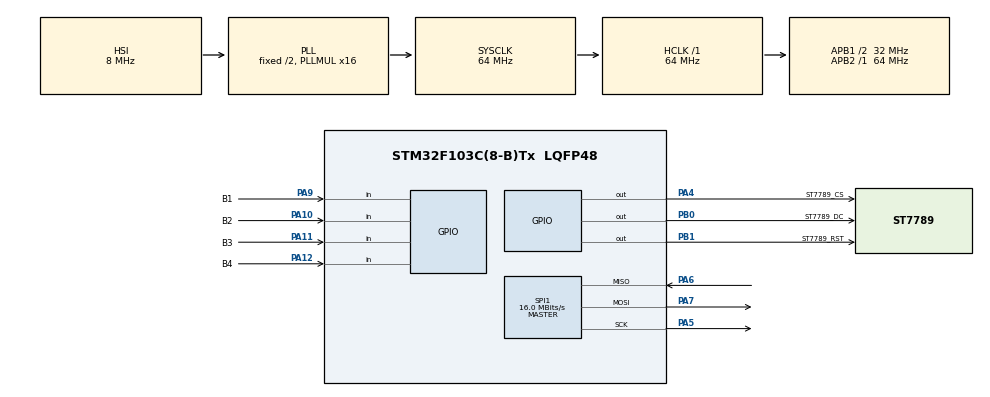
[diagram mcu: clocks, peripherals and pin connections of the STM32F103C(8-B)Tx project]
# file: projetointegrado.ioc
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Mcu.Family=STM32F1
Mcu.Name=STM32F103C(8-B)Tx
Mcu.Package=LQFP48
NVIC.PriorityGroup=NVIC_PRIORITYGROUP_4
PA10.GPIO_Label=B2
PA10.GPIO_PuPd=GPIO_PULLUP
PA10.Signal=GPIO_Input
PA11.GPIO_Label=B3
PA11.GPIO_PuPd=GPIO_PULLUP
PA11.Signal=GPIO_Input
PA12.GPIO_Label=B4
PA12.GPIO_PuPd=GPIO_PULLUP
PA12.Signal=GPIO_Input
PA13.Mode=Serial_Wire
PA13.Signal=SYS_JTMS-SWDIO
PA14.Mode=Serial_Wire
PA14.Signal=SYS_JTCK-SWCLK
PA4.GPIO_Label=ST7789_CS
PA4.Signal=GPIO_Output
PA5.Mode=Full_Duplex_Master
PA5.Signal=SPI1_SCK
PA6.Mode=Full_Duplex_Master
PA6.Signal=SPI1_MISO
PA7.Mode=Full_Duplex_Master
PA7.Signal=SPI1_MOSI
PA9.GPIO_Label=B1
PA9.GPIO_PuPd=GPIO_PULLUP
PA9.Signal=GPIO_Input
PB0.GPIO_Label=ST7789_DC
PB0.Signal=GPIO_Output
PB1.GPIO_Label=ST7789_RST
PB1.Signal=GPIO_Output
ProjectManager.HeapSize=0x200
ProjectManager.StackSize=0x400
ProjectManager.TargetToolchain=STM32CubeIDE
RCC.AHBFreq_Value=64000000
RCC.APB1CLKDivider=RCC_HCLK_DIV2
RCC.APB1Freq_Value=32000000
RCC.APB1TimFreq_Value=64000000
RCC.APB2Freq_Value=64000000
RCC.APB2TimFreq_Value=64000000
RCC.HCLKFreq_Value=64000000
RCC.PLLMUL=RCC_PLL_MUL16
RCC.SYSCLKFreq_VALUE=64000000
RCC.SYSCLKSource=RCC_SYSCLKSOURCE_PLLCLK
RCC.USBFreq_Value=64000000
SPI1.BaudRatePrescaler=SPI_BAUDRATEPRESCALER_4
SPI1.CLKPolarity=SPI_POLARITY_HIGH
SPI1.CalculateBaudRate=16.0 MBits/s
SPI1.Direction=SPI_DIRECTION_2LINES
SPI1.Mode=SPI_MODE_MASTER
SPI1.VirtualType=VM_MASTER
board=custom

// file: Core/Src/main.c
/* USER CODE BEGIN Header */
/**
  ******************************************************************************
  * @file           : main.c
  * @brief          : Main program body
  ******************************************************************************
  * @attention
  *
  * <h2><center>&copy; Copyright (c) 2026 STMicroelectronics.
  * All rights reserved.</center></h2>
  *
  * This software component is licensed by ST under BSD 3-Clause license,
  * the "License"; You may not use this file except in compliance with the
  * License. You may obtain a copy of the License at:
  *                        opensource.org/licenses/BSD-3-Clause
  *
  ******************************************************************************
  */
/* USER CODE END Header */
#include "main.h"

/* USER CODE BEGIN Includes */
#include <stdlib.h>
#include "ST7789\st7789.h"
#include <time.h>
#include <string.h>
/* USER CODE END Includes */

/* USER CODE BEGIN PD */
#define s1 HAL_GPIO_ReadPin(B1_GPIO_Port, B1_Pin)
#define s2 HAL_GPIO_ReadPin(B2_GPIO_Port, B2_Pin)
#define s3 HAL_GPIO_ReadPin(B3_GPIO_Port, B3_Pin)
#define s4 HAL_GPIO_ReadPin(B4_GPIO_Port, B4_Pin)
/* USER CODE END PD */

SPI_HandleTypeDef hspi1;

/* USER CODE BEGIN PV */
char senha[3];
int pos = 0;
char s[3];
char alunos[2];
int Qa = 0;
int senhaexibi;
int total = 0;
/* USER CODE END PV */

void SystemClock_Config(void);
static void MX_GPIO_Init(void);
static void MX_SPI1_Init(void);
/* USER CODE BEGIN PFP */
void gerador(void);
void exibirsenhad(void);
void exibirqalunos(void);
void exibiralunos(void);
/* USER CODE END PFP */

int main(void)
{

  /* MCU Configuration--------------------------------------------------------*/

  /* Reset of all peripherals, Initializes the Flash interface and the Systick. */
  HAL_Init();

  /* Configure the system clock */
  SystemClock_Config();

  /* Initialize all configured peripherals */
  MX_GPIO_Init();
  MX_SPI1_Init();
  /* USER CODE BEGIN 2 */

  ST7789_Init();
  /* USER CODE END 2 */

  /* Infinite loop */
  /* USER CODE BEGIN WHILE */
  while (1)
  {
	  int liberado = 0;
	  int s1_at = s1;
	  int s2_at = s2;
	  int s3_at = s3;
	  int s1_ant = s1_at;
	  int s2_ant = s2_at;
	  int s3_ant = s3_at;
	  int a = 0; // senha digitada
	  int Q = 0;
	  int C = 0;
	  int A = 0;
	  int N = 0;
	  int IP = 0; // inseridos pelo professor no código anterior que eu já tenho.
	  int K = 0;
	  int AF = 0; // alunos que estão fora que irão entrar.
	  int S = 0;
	  int tent = 3;

	  for (int i = 0; i<3; i++){
		  s[i] = '0';
	  }

	  s[3] = '\0';

	  for (int i = 0; i<2; i++){
		  alunos[i] = '0';
	  }

	  alunos[2] = '\0';

	  ST7789_Fill_Color(WHITE);
	  ST7789_WriteString(30, 20,"Iniciar Aula", Font_16x26, BLACK, WHITE);
	  ST7789_WriteString(30, 63,"Confirmar = PA9", Font_11x18, BLACK, WHITE);
	  while (1)
	  {
	      if (s1 == 0 && liberado == 0)
	      {
	    	  ST7789_Fill_Color(WHITE);
	    	  ST7789_WriteString(30, 20,"Aula iniciada", Font_16x26, BLACK, WHITE);
	          liberado = 1;
	          pos = 0;
	          a = 0;
	          gerador();
	          HAL_Delay(3000);
	          exibirsenhad();
	      }

	      if (liberado == 1 && Q == 0)
	      {

	          if (s2 == 0)
	          {
	              a++;
	              if (a > 9) {
	            	  a = 0;
	            	  s[pos] = '0';
	              } else s[pos] ++;
	              exibirsenhad();
	          }

	          if (s3 == 0)
	          {
	              a--;
	              if (a < 0) {
	            	  a = 9;
	            	  s[pos] = '9';
	              } else s[pos] --;
	              exibirsenhad();
	          }

	          if (s4 == 0)
	          {
	              pos++;
	              a = 0;
	              if (pos == 3)
	              {
	                  s[3] = '\0';
	                  pos = 0;
	                  int ok = 1;
	                  for (int i = 0; i < 3; i++)
	                  {
	                      if (s[i] != senha[i]) ok = 0;
	                  }

	                  if (ok)
	                  {
	                	  Q = 1;
	                	  ST7789_Fill_Color(WHITE);
	                	  ST7789_WriteString(30, 63,"Acesso permitido!", Font_11x18, GREEN, WHITE);
	                	  HAL_Delay(1000);
	                	  exibirqalunos();
	                  }
	                  else
	                  {
	                	  ST7789_Fill_Color(WHITE);
	                	  ST7789_WriteString(30, 63,"Senha inválida!", Font_11x18, RED, WHITE);
	                	  HAL_Delay(1000);
	                	  tent--;
	                	  if (tent <= 0) {
	                		  while (1==1){
	                			  ST7789_Fill_Color(GRAY);
	                	  	      ST7789_WriteString(20, 63,"ACESSO BLOQUEADO", Font_16x26, RED, WHITE);
	                	  	      HAL_Delay(4000);
	                		  }
	                		  HAL_Delay(1000);
	                	  }
	                  }
	              } else exibirsenhad();
	          }
	      }

	      if(Q == 1 && C == 0){
	    	  if (s2 == 0){
	        	A++;
	        	alunos[Qa]++;
	        	if (A > 9) {
	        		A = 0;
	        		alunos[Qa] = '0';
	        	}
	        	exibirqalunos();
	    	  }
	    	  if (s3 == 0){
	    		  A--;
	    		  alunos[Qa]++;
	    		  if (A < 0) {
	    			  A = 0;
	    			  alunos[Qa] = '9';
	    		  }
	    		  exibirqalunos();
	    	  }
	    	  if(s4 == 0){
	    		  A = 0;
	    		  Qa++;
	    		  if(Qa == 2){
	    			  Qa = 0;
	    		  }
	    		  exibirqalunos();
	    	  }
	    	  if (s1 == 0){
	    		  C = 1;
	    		  exibiralunos();
	    		  //ST7789_WriteString(70, 50,s, Font_11x18, BLACK, WHITE);
	    	  }
	      }

	      if (C == 1) {
	    	  s1_at = s1;
	    	  s2_at = s2;
	    	  s3_at = s3;

	    	  if(s1_ant == 1 && s1_at == 0){
	    		  N = 1;
	    	  }

	    	  if(s2_ant == 1 && s2_at == 0){
	    		  K = 1;
	    	  }

	    	  if(s3_ant == 1 && s3_at == 0){
	    		  S = 1;
	    	  }

	    	  s1_ant = s1_at;
	    	  s2_ant = s2_at;
	    	  s3_ant = s3_at;

	    	  if(N==1)//entrada
	    	  {
	    		  if(total<atoi(alunos)){
	    			  total++;
	    		  }
	    		  N = 0;
	    		  exibiralunos();
	    	  }

	    	  if(K==1)  //saída da sala
	    	  {
	    		  if(AF<3 && total>0){
	    			  AF++;
	    			  total--;
	    		  }

	    		  K = 0;
	    		  exibiralunos();
	    	  }

	    	  if(S==1)// retorno para sala
	    	  {
	    		  if(AF>0){
	    			  AF--;
	    			  total++;
	    		  } else{
	    			  //???
	    		  }

	    		  S = 0;
	    		  exibiralunos();
	    	  }

	    	  if(s1==0 && s2==0){

	    		  liberado = 0;
	    		  ST7789_Fill_Color(WHITE);
	    		  char casdv[20];
	    		  sprintf(casdv, "Alunos max: %d",atoi(alunos));
	    		  ST7789_WriteString(20, 20,"Relatorio", Font_11x18, BLACK, WHITE);
	    		  ST7789_WriteString(20, 40,casdv, Font_11x18, BLACK, WHITE);
	    		  sprintf(casdv, "Final aula: %d",atoi(alunos));
	    		  ST7789_WriteString(20, 60,casdv, Font_11x18, BLACK, WHITE);
	    		  ST7789_WriteString(20, 80,"Aula finalizada!", Font_11x18, BLACK, WHITE);
	    		  HAL_Delay(5000);
	    		  break;
	    	  }
	      }
    /* USER CODE END WHILE */

  }
}
}

void SystemClock_Config(void)
{
  RCC_OscInitTypeDef RCC_OscInitStruct = {0};
  RCC_ClkInitTypeDef RCC_ClkInitStruct = {0};

  /** Initializes the RCC Oscillators according to the specified parameters
  * in the RCC_OscInitTypeDef structure.
  */
  RCC_OscInitStruct.OscillatorType = RCC_OSCILLATORTYPE_HSI;
  RCC_OscInitStruct.HSIState = RCC_HSI_ON;
  RCC_OscInitStruct.HSICalibrationValue = RCC_HSICALIBRATION_DEFAULT;
  RCC_OscInitStruct.PLL.PLLState = RCC_PLL_ON;
  RCC_OscInitStruct.PLL.PLLSource = RCC_PLLSOURCE_HSI_DIV2;
  RCC_OscInitStruct.PLL.PLLMUL = RCC_PLL_MUL16;
  if (HAL_RCC_OscConfig(&RCC_OscInitStruct) != HAL_OK)
  {
    Error_Handler();
  }
  /** Initializes the CPU, AHB and APB buses clocks
  */
  RCC_ClkInitStruct.ClockType = RCC_CLOCKTYPE_HCLK|RCC_CLOCKTYPE_SYSCLK
                              |RCC_CLOCKTYPE_PCLK1|RCC_CLOCKTYPE_PCLK2;
  RCC_ClkInitStruct.SYSCLKSource = RCC_SYSCLKSOURCE_PLLCLK;
  RCC_ClkInitStruct.AHBCLKDivider = RCC_SYSCLK_DIV1;
  RCC_ClkInitStruct.APB1CLKDivider = RCC_HCLK_DIV2;
  RCC_ClkInitStruct.APB2CLKDivider = RCC_HCLK_DIV1;

  if (HAL_RCC_ClockConfig(&RCC_ClkInitStruct, FLASH_LATENCY_2) != HAL_OK)
  {
    Error_Handler();
  }
}

static void MX_SPI1_Init(void)
{

  /* SPI1 parameter configuration*/
  hspi1.Instance = SPI1;
  hspi1.Init.Mode = SPI_MODE_MASTER;
  hspi1.Init.Direction = SPI_DIRECTION_2LINES;
  hspi1.Init.DataSize = SPI_DATASIZE_8BIT;
  hspi1.Init.CLKPolarity = SPI_POLARITY_HIGH;
  hspi1.Init.CLKPhase = SPI_PHASE_1EDGE;
  hspi1.Init.NSS = SPI_NSS_SOFT;
  hspi1.Init.BaudRatePrescaler = SPI_BAUDRATEPRESCALER_4;
  hspi1.Init.FirstBit = SPI_FIRSTBIT_MSB;
  hspi1.Init.TIMode = SPI_TIMODE_DISABLE;
  hspi1.Init.CRCCalculation = SPI_CRCCALCULATION_DISABLE;
  hspi1.Init.CRCPolynomial = 10;
  if (HAL_SPI_Init(&hspi1) != HAL_OK)
  {
    Error_Handler();
  }

}

static void MX_GPIO_Init(void)
{
  GPIO_InitTypeDef GPIO_InitStruct = {0};

  /* GPIO Ports Clock Enable */
  __HAL_RCC_GPIOA_CLK_ENABLE();
  __HAL_RCC_GPIOB_CLK_ENABLE();

  /*Configure GPIO pin Output Level */
  HAL_GPIO_WritePin(ST7789_CS_GPIO_Port, ST7789_CS_Pin, GPIO_PIN_RESET);

  /*Configure GPIO pin Output Level */
  HAL_GPIO_WritePin(GPIOB, ST7789_DC_Pin|ST7789_RST_Pin, GPIO_PIN_RESET);

  /*Configure GPIO pin : ST7789_CS_Pin */
  GPIO_InitStruct.Pin = ST7789_CS_Pin;
  GPIO_InitStruct.Mode = GPIO_MODE_OUTPUT_PP;
  GPIO_InitStruct.Pull = GPIO_NOPULL;
  GPIO_InitStruct.Speed = GPIO_SPEED_FREQ_LOW;
  HAL_GPIO_Init(ST7789_CS_GPIO_Port, &GPIO_InitStruct);

  /*Configure GPIO pins : ST7789_DC_Pin ST7789_RST_Pin */
  GPIO_InitStruct.Pin = ST7789_DC_Pin|ST7789_RST_Pin;
  GPIO_InitStruct.Mode = GPIO_MODE_OUTPUT_PP;
  GPIO_InitStruct.Pull = GPIO_NOPULL;
  GPIO_InitStruct.Speed = GPIO_SPEED_FREQ_LOW;
  HAL_GPIO_Init(GPIOB, &GPIO_InitStruct);

  /*Configure GPIO pins : B1_Pin B2_Pin B3_Pin B4_Pin */
  GPIO_InitStruct.Pin = B1_Pin|B2_Pin|B3_Pin|B4_Pin;
  GPIO_InitStruct.Mode = GPIO_MODE_INPUT;
  GPIO_InitStruct.Pull = GPIO_PULLUP;
  HAL_GPIO_Init(GPIOA, &GPIO_InitStruct);

}

/* USER CODE BEGIN 4 */
 void gerador(void){
	 srand(time(NULL));
	 for (int i = 0; i<3 ; i++){
		 int digito = (rand()%9) + 1;
		 senha[i] = '0' + digito;
	 }
	 senha[3] = '0';
	 senhaexibi = atoi(senha);

 }

 void exibirsenhad(void){
	 char casdv[20];
	 sprintf(casdv, "Casa %d", pos + 1);
	 ST7789_Fill_Color(WHITE);
	 ST7789_WriteString(30, 20,"Digite a Senha", Font_16x26, BLACK, WHITE);
	 ST7789_WriteString(70, 50,s, Font_11x18, BLACK, WHITE);
	 ST7789_WriteString(30, 70, casdv, Font_11x18, BLACK, WHITE);
 }

 void exibirqalunos(void) {
	 char casdv[20];
	 sprintf(casdv, "Casa %d", Qa + 1);
	 ST7789_Fill_Color(WHITE);
	 ST7789_WriteString(30, 20,"Max alunos:", Font_16x26, BLACK, WHITE);
	 ST7789_WriteString(70, 50,alunos, Font_11x18, BLACK, WHITE);
	 ST7789_WriteString(30, 70, casdv, Font_11x18, BLACK, WHITE);
	 ST7789_WriteString(30, 90, "Salvar = PA9", Font_11x18, BLACK, WHITE);
 }

 void exibiralunos(void) {
	 char casdv[20];
	 sprintf(casdv, "Aula (Alunos %d/%d", total, atoi(alunos));
	 ST7789_Fill_Color(WHITE);
	 ST7789_WriteString(20, 20,casdv, Font_11x18, BLACK, WHITE);
	 ST7789_WriteString(20, 40,"Entrada = PA9", Font_11x18, BLACK, WHITE);
	 ST7789_WriteString(20, 60,"Saida = PA10", Font_11x18, BLACK, WHITE);
	 ST7789_WriteString(20, 80,"Retorno = PA11", Font_11x18, BLACK, WHITE);
 }
/* USER CODE END 4 */

void Error_Handler(void)
{
  __disable_irq();
  while (1)
  {
  }
}

/************************ (C) COPYRIGHT STMicroelectronics *****END OF FILE****/
